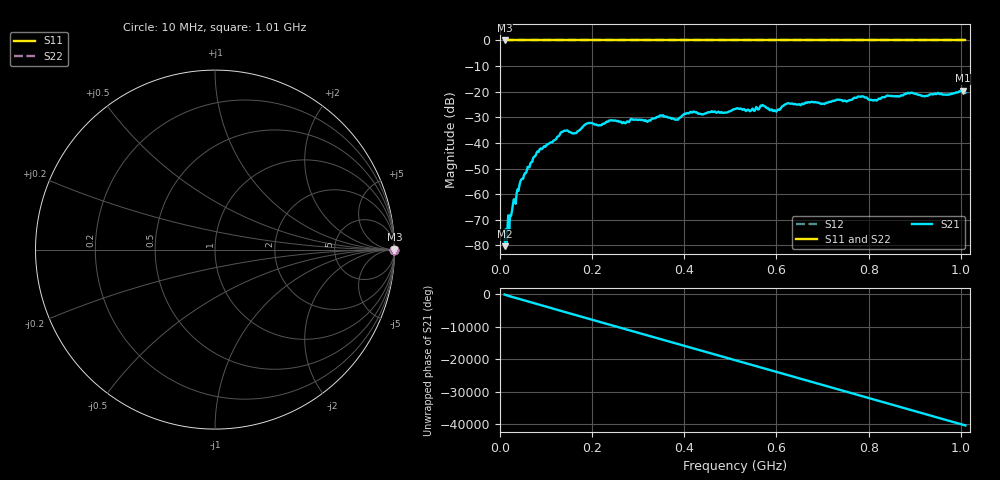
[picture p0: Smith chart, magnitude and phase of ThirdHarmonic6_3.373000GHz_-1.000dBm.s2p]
! 8/17/2025 10:42:18 AM
! C:\ANRITSUVNA\TEMP\TEMP.S2P
! CHANNEL.1
! TR.MEASUREMENT
! RAW.DATA
! RF.CORRECTION.OFF
! AVERAGING.OFF
! IF.BANDWIDTH: 5KHZ
! SWEEPTYPE:  FREQ.SWEEP(Linear)
! Reference Plane Port Info
! PORT:  PORT1  PORT2
! DISTANCE:  0  m  0  m
! TIME:  0  s  0  s
! PHASE.OFFSET:  0  deg.  0  deg.
! LOSS:  0  dB  0  dB
! REF.LOSS:  0  dB  0  dB
! REF.FREQ:  0  Hz  0  Hz
! Power Info
! POWER:  -20  dBm  -20  dBm
! EFF.POWER:  -20  dBm  -20  dBm
! SOURCE.ATTEN:  0  dB  0  dB
! TEST.ATTEN:  0  dB  0  dB
# GHZ S RI R 50.0
! FREQ.GHZ  S11RE  S11IM  S21RE  S21IM  S12RE  S12IM  S22RE  S22IM
!; PortSelection: Port_12
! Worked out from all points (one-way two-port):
!   501 points, 10 MHz to 1.01 GHz, reference 50 ohm
!   highest |S21| = -19.66 dB at 1.004 GHz (marker M1); lowest = -80.3 dB at 10 MHz (marker M2)
!   lowest |S11| = 0.0 dB at 10 MHz (marker M3)
!   |S11| at or under -10 dB: nowhere
!   |S22| runs from 0.0 to 0.0 dB; largest |S21 - S12| = 1.1
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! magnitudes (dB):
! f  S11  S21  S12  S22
! 10 MHz  0.0  -80.3  0.0  0.0
! 26 MHz  0.0  -66.6  0.0  0.0
! 42 MHz  0.0  -56.7  0.0  0.0
! 76 MHz  0.0  -45.2  0.0  0.0
! 136 MHz  0.0  -35.7  0.0  0.0
! 162 MHz  0.0  -36.2  0.0  0.0
! 178 MHz  0.0  -34.1  0.0  0.0
! 194 MHz  0.0  -32.3  0.0  0.0
! 322 MHz  0.0  -31.3  0.0  0.0
! 344 MHz  0.0  -29.8  0.0  0.0
! 384 MHz  0.0  -30.9  0.0  0.0
! 416 MHz  0.0  -28.2  0.0  0.0
! 510 MHz  0.0  -26.7  0.0  0.0
! 570 MHz  0.0  -25.2  0.0  0.0
! 596 MHz  0.0  -27.2  0.0  0.0
! 624 MHz  0.0  -24.6  0.0  0.0
! 678 MHz  0.0  -24.0  0.0  0.0
! 782 MHz  0.0  -22.0  0.0  0.0
! 814 MHz  0.0  -23.2  0.0  0.0
! 844 MHz  0.0  -21.6  0.0  0.0
! 1.004 GHz  0.0  -19.7  0.0  0.0
! 1.01 GHz  0.0  -20.4  0.0  0.0
